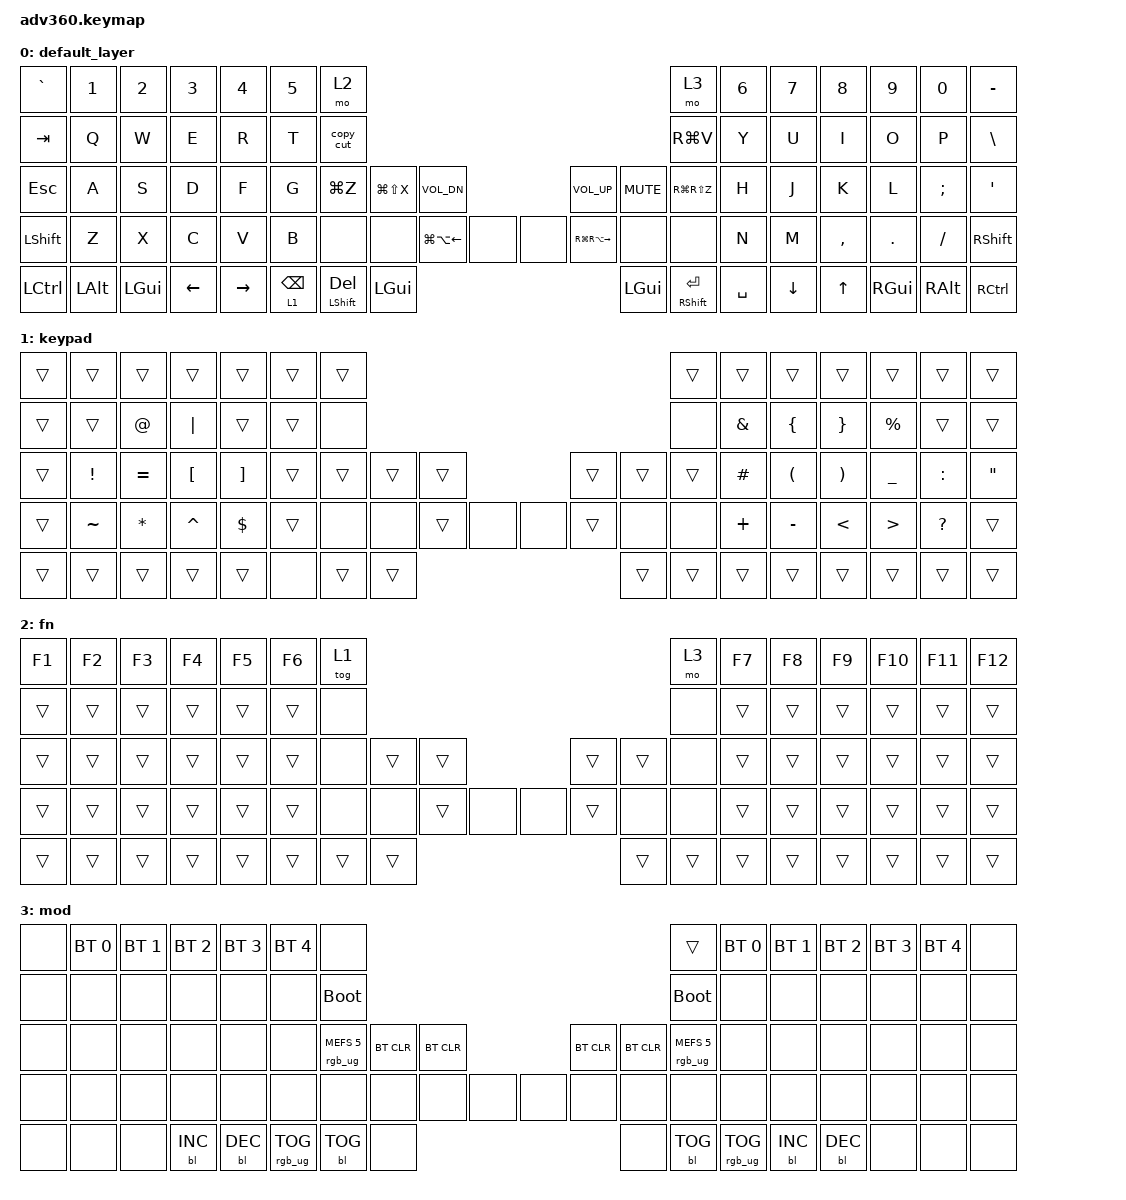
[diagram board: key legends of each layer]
#include <behaviors.dtsi>
#include <dt-bindings/zmk/keys.h>
#include <dt-bindings/zmk/bt.h>
#include <dt-bindings/zmk/rgb.h>
#include <dt-bindings/zmk/backlight.h>

/ {
    behaviors {
      #include "macros.dtsi"

      hm: homerow_mods {
          compatible = "zmk,behavior-hold-tap";
          label = "HOMEROW_MODS";
          #binding-cells = <2>;
          tapping-term-ms = <200>;
          quick_tap_ms = <175>;
          flavor = "tap-preferred";
          bindings = <&kp>, <&kp>;
      };

      mqt: mod_quick_tap {
          compatible = "zmk,behavior-hold-tap";
          label = "MOD_QUICK_TAP";
          #binding-cells = <2>;
          tapping-term-ms = <200>;
          quick_tap_ms = <250>;
          flavor = "hold-preferred";
          bindings = <&kp>, <&kp>;
      };

      lqt: layer_quick_tap {
          compatible = "zmk,behavior-hold-tap";
          label = "LAYER_QUICK_TAP";
          #binding-cells = <2>;
          tapping-term-ms = <200>;
          quick_tap_ms = <250>;
          flavor = "hold-preferred";
          bindings = <&mo>, <&kp>;
      };

      copy_cut: tap_dance_copy_cut {
            compatible = "zmk,behavior-tap-dance";
            label = "TAP_DANCE_COPY_CUT";
            #binding-cells = <0>;
            tapping-term-ms = <200>;
            bindings = <&kp LG(C)>, <&kp LG(X)>;
        };

    };

  keymap {
    compatible = "zmk,keymap";

    default_layer {
      bindings = <
        &kp GRAVE &kp N1    &kp N2   &kp N3   &kp N4     &kp N5 &mo 2                                                                                 &mo 3         &kp N6 &kp N7   &kp N8    &kp N9    &kp N0        &kp MINUS
        &kp TAB   &kp Q     &kp W    &kp E    &kp R      &kp T  &copy_cut                                                                             &kp RG(V)     &kp Y  &kp U    &kp I     &kp O     &kp P         &kp BSLH
        &kp ESC   &kp A     &kp S    &kp D    &kp F      &kp G  &kp LG(Z)     &kp LG(LS(X)) &kp C_VOL_DN                 &kp C_VOL_UP      &kp K_MUTE &kp RG(RS(Z)) &kp H  &kp J    &kp K     &kp L     &kp SEMI      &kp SQT
        &kp LSHFT &kp Z     &kp X    &kp C    &kp V      &kp B         &none  &none         &kp LG(LA(LEFT)) &none &none &kp RG(RA(RIGHT)) &none  &none             &kp N  &kp M    &kp COMMA &kp DOT   &kp FSLH      &kp RSHFT
        &kp LCTRL &kp LALT  &kp LGUI &kp LEFT &kp RIGHT                &lqt 1 BSPC  &mqt LSHIFT DEL  &kp LGUI            &kp LGUI          &mqt RSHIFT RET &kp SPACE       &kp DOWN &kp UP &kp RGUI &kp RALT &kp RCTRL
      >;
    };
    keypad {
      bindings = <
        &trans &trans    &trans    &trans    &trans     &trans  &trans                                                                     &trans  &trans   &trans    &trans    &trans    &trans    &trans
        &trans &trans    &kp AT    &kp PIPE  &trans     &trans  &none                                                                      &none   &kp AMPS &kp LBRC  &kp RBRC  &kp PRCNT &trans    &trans
        &trans &kp EXCL  &kp EQUAL &kp LBKT  &kp RBKT   &trans  &trans        &trans     &trans               &trans  &trans               &trans  &kp HASH &kp LPAR  &kp RPAR  &kp UNDER &kp COLON &kp DQT
        &trans &kp TILDE &kp ASTRK &kp CARET &kp DLLR   &trans         &none  &none      &trans &none &none   &trans  &none  &none                 &kp PLUS &kp MINUS &kp LT    &kp GT    &kp QMARK &trans
        &trans &trans    &trans    &trans    &trans                    &none  &trans     &trans               &trans  &trans &trans                         &trans    &trans    &trans    &trans    &trans
      >;
    };
    fn {
      bindings = <
        &kp F1 &kp F2 &kp F3 &kp F4 &kp F5 &kp F6 &tog 1                                                       &mo 3 &kp F7 &kp F8 &kp F9 &kp F10 &kp F11 &kp F12
        &trans &trans &trans &trans &trans &trans  &none                                                       &none &trans &trans &trans &trans  &trans  &trans
        &trans &trans &trans &trans &trans &trans  &none        &trans &trans             &trans &trans        &none &trans &trans &trans &trans  &trans  &trans
        &trans &trans &trans &trans &trans &trans        &none  &none  &trans &none &none &trans &none  &none        &trans &trans &trans &trans  &trans  &trans
        &trans &trans &trans &trans &trans               &trans &trans &trans             &trans &trans &trans              &trans &trans &trans  &trans  &trans
      >;
    };
    mod {
      bindings = <
        &none &bt BT_SEL 0 &bt BT_SEL 1 &bt BT_SEL 2 &bt BT_SEL 3 &bt BT_SEL 4 &none                                                                                                          &trans                 &bt BT_SEL 0 &bt BT_SEL 1 &bt BT_SEL 2 &bt BT_SEL 3 &bt BT_SEL 4 &none
        &none &none        &none        &none        &none        &none        &bootloader                                                                                                    &bootloader            &none        &none        &none        &none        &none        &none
        &none &none        &none        &none        &none        &none        &rgb_ug RGB_MEFS_CMD 5                 &bt BT_CLR &bt BT_CLR             &bt BT_CLR &bt BT_CLR                 &rgb_ug RGB_MEFS_CMD 5 &none        &none        &none        &none        &none        &none
        &none &none        &none        &none        &none        &none                               &none           &none      &none      &none &none &none      &none      &none                                  &none        &none        &none        &none        &none        &none
        &none &none        &none        &bl BL_INC   &bl BL_DEC                                       &rgb_ug RGB_TOG &bl BL_TOG &none                  &none      &bl BL_TOG &rgb_ug RGB_TOG                                     &bl BL_INC   &bl BL_DEC   &none        &none        &none
      >;
    };
  };
};
